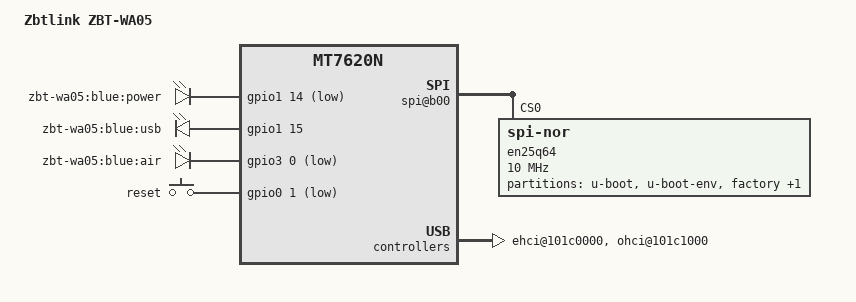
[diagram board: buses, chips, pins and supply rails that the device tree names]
/dts-v1/;

/include/ "mt7620n.dtsi"

/ {
	compatible = "zbtlink,zbt-wa05", "ralink,mt7620n-soc";
	model = "Zbtlink ZBT-WA05";

	chosen {
		bootargs = "console=ttyS0,115200";
	};

	palmbus@10000000 {
		gpio1: gpio@638 {
			status = "okay";
		};

		gpio2: gpio@660 {
			status = "okay";
		};

		gpio3: gpio@688 {
			status = "okay";
		};

		spi@b00 {
			status = "okay";

			en25q64@0 {
				#address-cells = <1>;
				#size-cells = <1>;
				compatible = "jedec,spi-nor";
				reg = <0 0>;
				linux,modalias = "m25p80";
				spi-max-frequency = <10000000>;

				partition@0 {
					label = "u-boot";
					reg = <0x0 0x30000>;
					read-only;
				};

				partition@30000 {
					label = "u-boot-env";
					reg = <0x30000 0x10000>;
					read-only;
				};

				factory: partition@40000 {
					label = "factory";
					reg = <0x40000 0x10000>;
					read-only;
				};

				partition@50000 {
					label = "firmware";
					reg = <0x50000 0x760000>;
				};
			};
		};
	};

	ehci@101c0000 {
		status = "okay";
	};

	ohci@101c1000 {
		status = "okay";
	};

	ethernet@10100000 {
		mtd-mac-address = <&factory 0x4>;
		mediatek,portmap = "wllll";
	};

	wmac@10180000 {
		ralink,mtd-eeprom = <&factory 0>;
	};

	pinctrl {
		state_default: pinctrl0 {
			default {
				ralink,group = "i2c", "spi refclk", "wled";
				ralink,function = "gpio";
			};
		};
	};

	gpio-leds {
		compatible = "gpio-leds";

		power {
			label = "zbt-wa05:blue:power";
			gpios = <&gpio1 14 1>;
		};

		usb {
			label = "zbt-wa05:blue:usb";
			gpios = <&gpio1 15 0>;
		};

		air {
			label = "zbt-wa05:blue:air";
			gpios = <&gpio3 0 1>;
		};
	};

	gpio-keys-polled {
		compatible = "gpio-keys-polled";
		#address-cells = <1>;
		#size-cells = <0>;
		poll-interval = <20>;

		reset {
			label = "reset";
			gpios = <&gpio0 1 1>;
			linux,code = <0x198>;
		};
	};
};
